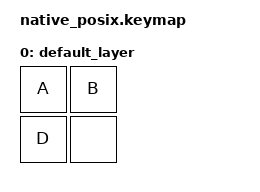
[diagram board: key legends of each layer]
#include <dt-bindings/zmk/keys.h>
#include <behaviors.dtsi>
#include <dt-bindings/zmk/kscan-mock.h>

/ {
	behaviors {
		combo_one: combo_one {
			compatible = "zmk,behavior-combo";
			label = "COMBO_ONE";
			timeout-ms = <30>;
			key-positions = <0 1>;
			bindings = <&kp C>;
			/* no slow-release! */
		};
	};

	keymap {
		compatible = "zmk,keymap";
		label ="Default keymap";

		default_layer {
			bindings = <
				&kp A &kp B
				&kp D &none
			>;
		};
	};
};

&kscan {
	events = <
		ZMK_MOCK_PRESS(0,0,10) 
		ZMK_MOCK_PRESS(0,1,10) 
		ZMK_MOCK_RELEASE(0,0,10) /* this should release the combo */
		ZMK_MOCK_PRESS(1,0,10)
		ZMK_MOCK_RELEASE(0,1,10)
		ZMK_MOCK_RELEASE(1,0,10) 
	>;
};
